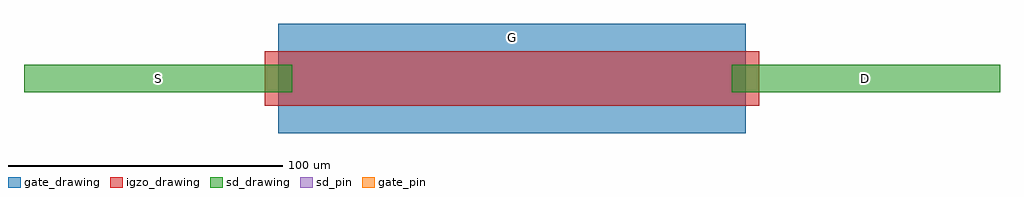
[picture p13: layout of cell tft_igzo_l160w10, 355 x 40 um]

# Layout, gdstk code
import gdstk
lib = gdstk.Library(unit=1e-6, precision=1e-09)
def R(c, l, rs):  # rectangles x0, y0, x1, y1
    for r in rs: c.add(gdstk.rectangle(r[:2], r[2:], *l))
gate_drawing = (2, 0)
gate_pin = (2, 10)
igzo_drawing = (4, 0)
sd_drawing = (6, 0)
sd_pin = (6, 10)

tft_igzo_l160w10 = lib.new_cell('tft_igzo_l160w10')
R(tft_igzo_l160w10, gate_drawing, [(-85,-20,85,20)])
R(tft_igzo_l160w10, gate_pin, [(-0.5,14.5,0.5,15.5)])
R(tft_igzo_l160w10, igzo_drawing, [(-90,-10,90,10)])
R(tft_igzo_l160w10, sd_drawing, [(-177.5,-5,-80,5), (80,-5,177.5,5)])
R(tft_igzo_l160w10, sd_pin, [(-129.25,-0.5,-128.25,0.5), (128.25,-0.5,129.25,0.5)])
tft_igzo_l160w10.add(gdstk.Label('S', (-128.75,0), layer=6, texttype=10))
tft_igzo_l160w10.add(gdstk.Label('D', (128.75,0), layer=6, texttype=10))
tft_igzo_l160w10.add(gdstk.Label('G', (0,15), layer=2, texttype=10))

lib.write_gds('tft_igzo_l160w10.gds')
